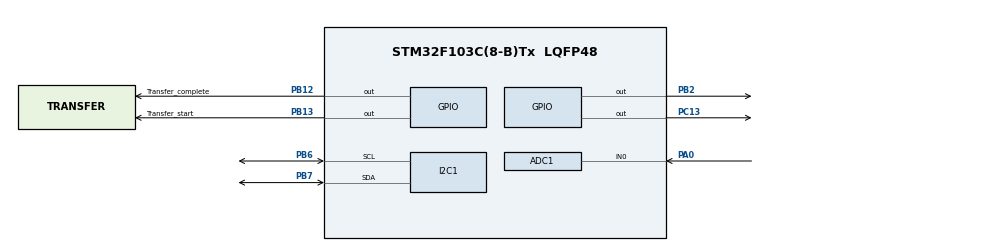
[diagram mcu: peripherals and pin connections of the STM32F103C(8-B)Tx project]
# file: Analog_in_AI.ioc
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ADC1.Channel-0\#ChannelRegularConversion=ADC_CHANNEL_0
ADC1.NbrOfConversionFlag=1
ADC1.Rank-0\#ChannelRegularConversion=1
ADC1.SamplingTime-0\#ChannelRegularConversion=ADC_SAMPLETIME_1CYCLE_5
ADC1.master=1
I2C1.OwnAddress=0x11
Mcu.Family=STM32F1
Mcu.Name=STM32F103C(8-B)Tx
Mcu.Package=LQFP48
NVIC.I2C1_ER_IRQn=true\:0\:0\:false\:false\:true\:true\:true\:true
NVIC.I2C1_EV_IRQn=true\:0\:0\:false\:false\:true\:true\:true\:true
NVIC.PriorityGroup=NVIC_PRIORITYGROUP_4
PA0-WKUP.Signal=ADCx_IN0
PA13.Mode=Serial_Wire
PA13.Signal=SYS_JTMS-SWDIO
PA14.Mode=Serial_Wire
PA14.Signal=SYS_JTCK-SWCLK
PB12.GPIO_Label=Transfer_complete
PB12.Signal=GPIO_Output
PB13.GPIO_Label=Transfer_start
PB13.GPIO_PuPd=GPIO_PULLDOWN
PB13.Signal=GPIO_Output
PB2.Signal=GPIO_Output
PB6.Mode=I2C
PB6.Signal=I2C1_SCL
PB7.Mode=I2C
PB7.Signal=I2C1_SDA
PC13-TAMPER-RTC.Signal=GPIO_Output
ProjectManager.HeapSize=0x200
ProjectManager.StackSize=0x400
ProjectManager.TargetToolchain=STM32CubeIDE
RCC.APB1Freq_Value=8000000
RCC.APB2Freq_Value=8000000
SH.ADCx_IN0.0=ADC1_IN0,IN0
board=custom

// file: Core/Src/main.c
/* USER CODE BEGIN Header */
/**
  ******************************************************************************
  * @file           : main.c
  * @brief          : Main program body
  ******************************************************************************
  * @attention
  *
  * Copyright (c) 2025 STMicroelectronics.
  * All rights reserved.
  *
  * This software is licensed under terms that can be found in the LICENSE file
  * in the root directory of this software component.
  * If no LICENSE file comes with this software, it is provided AS-IS.
  *
  ******************************************************************************
  */
/* USER CODE END Header */
#include "main.h"

ADC_HandleTypeDef hadc1;

I2C_HandleTypeDef hi2c1;

/* USER CODE BEGIN PV */
uint16_t pot;

uint8_t dataBuffer[2];

/* USER CODE END PV */

void SystemClock_Config(void);
static void MX_GPIO_Init(void);
static void MX_ADC1_Init(void);
static void MX_I2C1_Init(void);

int main(void)
{

  /* MCU Configuration--------------------------------------------------------*/

  /* Reset of all peripherals, Initializes the Flash interface and the Systick. */
  HAL_Init();

  /* Configure the system clock */
  SystemClock_Config();

  /* Initialize all configured peripherals */
  MX_GPIO_Init();
  MX_ADC1_Init();
  MX_I2C1_Init();
  /* USER CODE BEGIN 2 */
  HAL_I2C_Slave_Transmit_IT(&hi2c1, dataBuffer, 2);
  /* USER CODE END 2 */

  /* Infinite loop */
  /* USER CODE BEGIN WHILE */
  while (1)
  {
	  HAL_ADC_Start(&hadc1); // for starting the ADC
	  HAL_ADC_PollForConversion(&hadc1, 20);
	  pot = HAL_ADC_GetValue(&hadc1); // Getting the value from ADC

	  dataBuffer[0] = pot >> 8;
	  dataBuffer[1] = pot & 0xFF;

    /* USER CODE END WHILE */

  }
}

void SystemClock_Config(void)
{
  RCC_OscInitTypeDef RCC_OscInitStruct = {0};
  RCC_ClkInitTypeDef RCC_ClkInitStruct = {0};
  RCC_PeriphCLKInitTypeDef PeriphClkInit = {0};

  /** Initializes the RCC Oscillators according to the specified parameters
  * in the RCC_OscInitTypeDef structure.
  */
  RCC_OscInitStruct.OscillatorType = RCC_OSCILLATORTYPE_HSI;
  RCC_OscInitStruct.HSIState = RCC_HSI_ON;
  RCC_OscInitStruct.HSICalibrationValue = RCC_HSICALIBRATION_DEFAULT;
  RCC_OscInitStruct.PLL.PLLState = RCC_PLL_NONE;
  if (HAL_RCC_OscConfig(&RCC_OscInitStruct) != HAL_OK)
  {
    Error_Handler();
  }

  /** Initializes the CPU, AHB and APB buses clocks
  */
  RCC_ClkInitStruct.ClockType = RCC_CLOCKTYPE_HCLK|RCC_CLOCKTYPE_SYSCLK
                              |RCC_CLOCKTYPE_PCLK1|RCC_CLOCKTYPE_PCLK2;
  RCC_ClkInitStruct.SYSCLKSource = RCC_SYSCLKSOURCE_HSI;
  RCC_ClkInitStruct.AHBCLKDivider = RCC_SYSCLK_DIV1;
  RCC_ClkInitStruct.APB1CLKDivider = RCC_HCLK_DIV1;
  RCC_ClkInitStruct.APB2CLKDivider = RCC_HCLK_DIV1;

  if (HAL_RCC_ClockConfig(&RCC_ClkInitStruct, FLASH_LATENCY_0) != HAL_OK)
  {
    Error_Handler();
  }
  PeriphClkInit.PeriphClockSelection = RCC_PERIPHCLK_ADC;
  PeriphClkInit.AdcClockSelection = RCC_ADCPCLK2_DIV2;
  if (HAL_RCCEx_PeriphCLKConfig(&PeriphClkInit) != HAL_OK)
  {
    Error_Handler();
  }
}

static void MX_ADC1_Init(void)
{

  ADC_ChannelConfTypeDef sConfig = {0};

  /** Common config
  */
  hadc1.Instance = ADC1;
  hadc1.Init.ScanConvMode = ADC_SCAN_DISABLE;
  hadc1.Init.ContinuousConvMode = DISABLE;
  hadc1.Init.DiscontinuousConvMode = DISABLE;
  hadc1.Init.ExternalTrigConv = ADC_SOFTWARE_START;
  hadc1.Init.DataAlign = ADC_DATAALIGN_RIGHT;
  hadc1.Init.NbrOfConversion = 1;
  if (HAL_ADC_Init(&hadc1) != HAL_OK)
  {
    Error_Handler();
  }

  /** Configure Regular Channel
  */
  sConfig.Channel = ADC_CHANNEL_0;
  sConfig.Rank = ADC_REGULAR_RANK_1;
  sConfig.SamplingTime = ADC_SAMPLETIME_1CYCLE_5;
  if (HAL_ADC_ConfigChannel(&hadc1, &sConfig) != HAL_OK)
  {
    Error_Handler();
  }

}

static void MX_I2C1_Init(void)
{

  hi2c1.Instance = I2C1;
  hi2c1.Init.ClockSpeed = 100000;
  hi2c1.Init.DutyCycle = I2C_DUTYCYCLE_2;
  hi2c1.Init.OwnAddress1 = 34;
  hi2c1.Init.AddressingMode = I2C_ADDRESSINGMODE_7BIT;
  hi2c1.Init.DualAddressMode = I2C_DUALADDRESS_DISABLE;
  hi2c1.Init.OwnAddress2 = 0;
  hi2c1.Init.GeneralCallMode = I2C_GENERALCALL_DISABLE;
  hi2c1.Init.NoStretchMode = I2C_NOSTRETCH_DISABLE;
  if (HAL_I2C_Init(&hi2c1) != HAL_OK)
  {
    Error_Handler();
  }

}

static void MX_GPIO_Init(void)
{
  GPIO_InitTypeDef GPIO_InitStruct = {0};

  /* GPIO Ports Clock Enable */
  __HAL_RCC_GPIOC_CLK_ENABLE();
  __HAL_RCC_GPIOA_CLK_ENABLE();
  __HAL_RCC_GPIOB_CLK_ENABLE();

  /*Configure GPIO pin Output Level */
  HAL_GPIO_WritePin(GPIOC, GPIO_PIN_13, GPIO_PIN_RESET);

  /*Configure GPIO pin Output Level */
  HAL_GPIO_WritePin(GPIOB, GPIO_PIN_2|Transfer_complete_Pin|Transfer_start_Pin, GPIO_PIN_RESET);

  /*Configure GPIO pin : PC13 */
  GPIO_InitStruct.Pin = GPIO_PIN_13;
  GPIO_InitStruct.Mode = GPIO_MODE_OUTPUT_PP;
  GPIO_InitStruct.Pull = GPIO_NOPULL;
  GPIO_InitStruct.Speed = GPIO_SPEED_FREQ_LOW;
  HAL_GPIO_Init(GPIOC, &GPIO_InitStruct);

  /*Configure GPIO pins : PB2 Transfer_complete_Pin */
  GPIO_InitStruct.Pin = GPIO_PIN_2|Transfer_complete_Pin;
  GPIO_InitStruct.Mode = GPIO_MODE_OUTPUT_PP;
  GPIO_InitStruct.Pull = GPIO_NOPULL;
  GPIO_InitStruct.Speed = GPIO_SPEED_FREQ_LOW;
  HAL_GPIO_Init(GPIOB, &GPIO_InitStruct);

  /*Configure GPIO pin : Transfer_start_Pin */
  GPIO_InitStruct.Pin = Transfer_start_Pin;
  GPIO_InitStruct.Mode = GPIO_MODE_OUTPUT_PP;
  GPIO_InitStruct.Pull = GPIO_PULLDOWN;
  GPIO_InitStruct.Speed = GPIO_SPEED_FREQ_LOW;
  HAL_GPIO_Init(Transfer_start_GPIO_Port, &GPIO_InitStruct);

}

/* USER CODE BEGIN 4 */
void HAL_I2C_SlaveTxCpltCallback(I2C_HandleTypeDef *hi2c){
	if (hi2c->Instance == I2C1)
	{
		HAL_I2C_Slave_Transmit_IT(&hi2c1, dataBuffer, 2);
	    //HAL_GPIO_TogglePin(GPIOB, GPIO_PIN_2);
		HAL_GPIO_TogglePin(GPIOC, GPIO_PIN_13);
	}
}

void HAL_I2C_ErrorCallback(I2C_HandleTypeDef *hi2c)
{
    if (hi2c->Instance == I2C1)
    {
    	HAL_I2C_Slave_Transmit_IT(&hi2c1, dataBuffer, 2);
    }
}
/* USER CODE END 4 */

void Error_Handler(void)
{
  __disable_irq();
  while (1)
  {
  }
}
